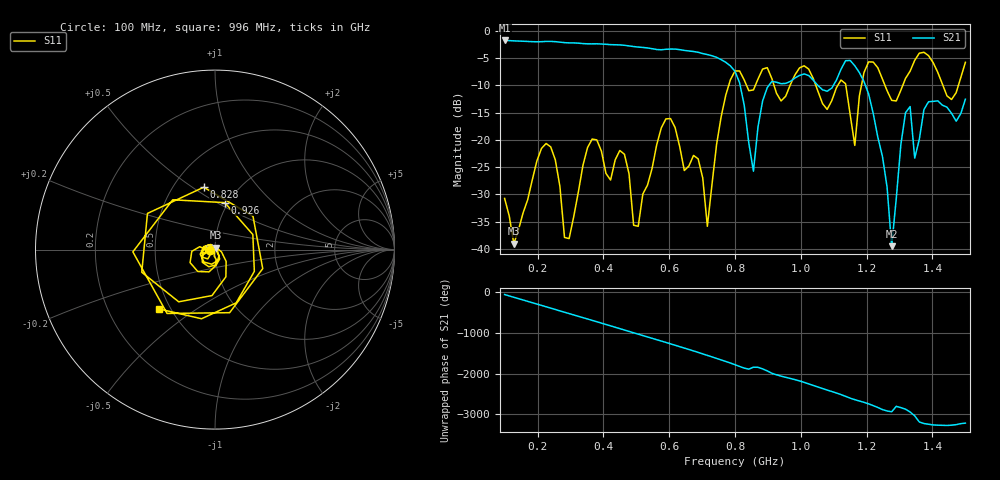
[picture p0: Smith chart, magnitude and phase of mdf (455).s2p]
! NanoVNA-App
! Date: 2025-09-25 15:41:57
! Start: 100MHz Stop: 1,5GHz Points: 101
! S-Parameter data: F S11 S21 S12 S22
# Hz S RI R 50
!  Frequency  S11_Real  S11_Imag  S21_Real  S21_Imag  S12_Real  S12_Imag  S22_Real  S22_Imag
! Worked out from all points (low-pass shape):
!   101 points, 100 MHz to 1.5 GHz, reference 50 ohm
!   highest |S21| = -1.80 dB at 100 MHz (marker M1); lowest = -39.5 dB at 1.276 GHz (marker M2)
!   |S21| within 3 dB of the highest: start of sweep to 739.4 MHz
!   lowest |S11| = -39.0 dB at 128 MHz (marker M3), VSWR 1.02, Z = 50.3 + j1.07 ohm
!   |S11| at or under -10 dB: start of sweep to 781.1 MHz; 1.045 GHz to 1.113 GHz (67.45 MHz wide, 6.25 % of centre); 1.255 GHz to 1.31 GHz (54.51 MHz wide, 4.25 % of centre) (the widest 3 of 7)
!   S12 and S22 are empty: the file has one direction only
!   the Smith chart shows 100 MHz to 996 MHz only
!   S11 on the Smith chart (normalised r, x): 100 MHz: 0.94, -0.01; 828 MHz: 0.70, +0.56; 926 MHz: 0.96, +0.54; 996 MHz: 0.43, -0.36
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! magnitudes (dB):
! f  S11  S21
! 100 MHz  -30.7  -1.8
! 128 MHz  -39.0  -1.9
! 212 MHz  -21.6  -2.0
! 282 MHz  -37.9  -2.2
! 338 MHz  -24.7  -2.4
! 464 MHz  -22.6  -2.7
! 506 MHz  -35.8  -3.0
! 576 MHz  -17.8  -3.5
! 688 MHz  -23.5  -4.0
! 716 MHz  -35.8  -4.4
! 800 MHz  -7.4  -7.5
! 828 MHz  -9.0  -13.7
! 856 MHz  -10.9  -25.8
! 926 MHz  -11.5  -9.5
! 996 MHz  -6.8  -8.2
! 1.038 GHz  -8.8  -9.1
! 1.164 GHz  -21.0  -6.4
! 1.192 GHz  -7.7  -9.4
! 1.276 GHz  -12.8  -39.5
! 1.318 GHz  -8.8  -15.1
! 1.346 GHz  -5.4  -23.3
! 1.5 GHz  -5.8  -12.6
